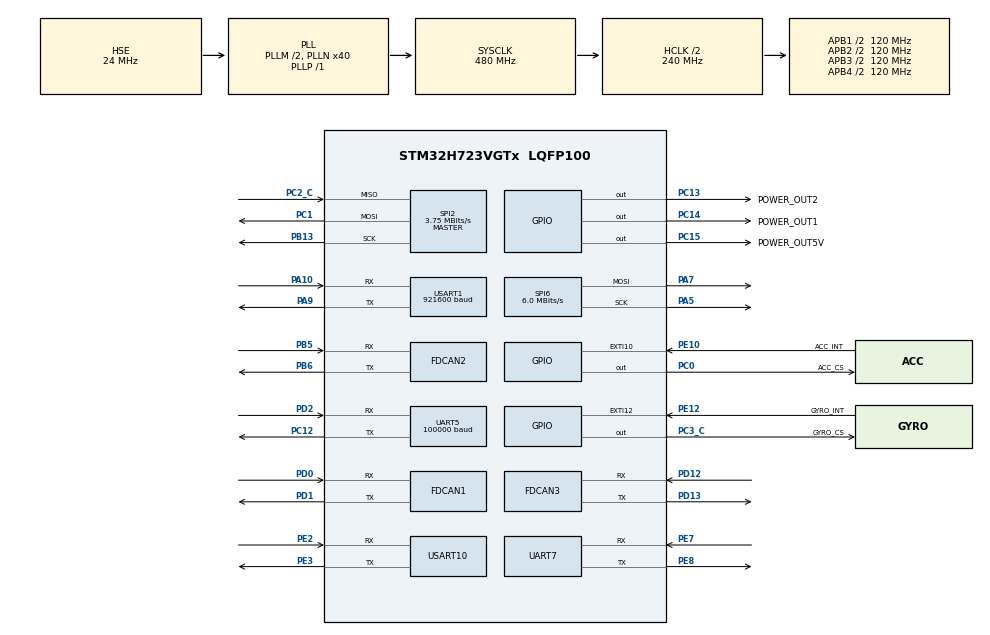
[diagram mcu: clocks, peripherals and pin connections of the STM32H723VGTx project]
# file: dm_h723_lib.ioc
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CORTEX_M7.CPU_ICache=Enabled
CORTEX_M7.default_mode_Activation=0
Dma.Request0=UART5_RX
Dma.Request1=SPI2_RX
Dma.Request2=SPI2_TX
Dma.SPI2_RX.1.Direction=DMA_PERIPH_TO_MEMORY
Dma.SPI2_RX.1.EventEnable=DISABLE
Dma.SPI2_RX.1.FIFOMode=DMA_FIFOMODE_DISABLE
Dma.SPI2_RX.1.Instance=DMA1_Stream0
Dma.SPI2_RX.1.MemDataAlignment=DMA_MDATAALIGN_BYTE
Dma.SPI2_RX.1.MemInc=DMA_MINC_ENABLE
Dma.SPI2_RX.1.Mode=DMA_NORMAL
Dma.SPI2_RX.1.PeriphDataAlignment=DMA_PDATAALIGN_BYTE
Dma.SPI2_RX.1.PeriphInc=DMA_PINC_DISABLE
Dma.SPI2_RX.1.Polarity=HAL_DMAMUX_REQ_GEN_RISING
Dma.SPI2_RX.1.Priority=DMA_PRIORITY_VERY_HIGH
Dma.SPI2_RX.1.RequestNumber=1
Dma.SPI2_RX.1.SignalID=NONE
Dma.SPI2_RX.1.SyncEnable=DISABLE
Dma.SPI2_RX.1.SyncPolarity=HAL_DMAMUX_SYNC_NO_EVENT
Dma.SPI2_RX.1.SyncRequestNumber=1
Dma.SPI2_RX.1.SyncSignalID=NONE
Dma.SPI2_TX.2.Direction=DMA_MEMORY_TO_PERIPH
Dma.SPI2_TX.2.EventEnable=DISABLE
Dma.SPI2_TX.2.FIFOMode=DMA_FIFOMODE_DISABLE
Dma.SPI2_TX.2.Instance=DMA1_Stream1
Dma.SPI2_TX.2.MemDataAlignment=DMA_MDATAALIGN_BYTE
Dma.SPI2_TX.2.MemInc=DMA_MINC_ENABLE
Dma.SPI2_TX.2.Mode=DMA_NORMAL
Dma.SPI2_TX.2.PeriphDataAlignment=DMA_PDATAALIGN_BYTE
Dma.SPI2_TX.2.PeriphInc=DMA_PINC_DISABLE
Dma.SPI2_TX.2.Polarity=HAL_DMAMUX_REQ_GEN_RISING
Dma.SPI2_TX.2.Priority=DMA_PRIORITY_HIGH
Dma.SPI2_TX.2.RequestNumber=1
Dma.SPI2_TX.2.SignalID=NONE
Dma.SPI2_TX.2.SyncEnable=DISABLE
Dma.SPI2_TX.2.SyncPolarity=HAL_DMAMUX_SYNC_NO_EVENT
Dma.SPI2_TX.2.SyncRequestNumber=1
Dma.SPI2_TX.2.SyncSignalID=NONE
Dma.UART5_RX.0.Direction=DMA_PERIPH_TO_MEMORY
Dma.UART5_RX.0.EventEnable=DISABLE
Dma.UART5_RX.0.FIFOMode=DMA_FIFOMODE_DISABLE
Dma.UART5_RX.0.Instance=DMA1_Stream2
Dma.UART5_RX.0.MemDataAlignment=DMA_MDATAALIGN_BYTE
Dma.UART5_RX.0.MemInc=DMA_MINC_ENABLE
Dma.UART5_RX.0.Mode=DMA_NORMAL
Dma.UART5_RX.0.PeriphDataAlignment=DMA_PDATAALIGN_BYTE
Dma.UART5_RX.0.PeriphInc=DMA_PINC_DISABLE
Dma.UART5_RX.0.Polarity=HAL_DMAMUX_REQ_GEN_RISING
Dma.UART5_RX.0.Priority=DMA_PRIORITY_VERY_HIGH
Dma.UART5_RX.0.RequestNumber=1
Dma.UART5_RX.0.SignalID=NONE
Dma.UART5_RX.0.SyncEnable=DISABLE
Dma.UART5_RX.0.SyncPolarity=HAL_DMAMUX_SYNC_NO_EVENT
Dma.UART5_RX.0.SyncRequestNumber=1
Dma.UART5_RX.0.SyncSignalID=NONE
FDCAN1.CalculateBaudRateNominal=1000000
FDCAN1.CalculateTimeBitNominal=1000
FDCAN1.CalculateTimeQuantumNominal=25.0
FDCAN1.DataPrescaler=3
FDCAN1.DataSyncJumpWidth=10
FDCAN1.DataTimeSeg1=29
FDCAN1.DataTimeSeg2=10
FDCAN1.NominalPrescaler=3
FDCAN1.NominalSyncJumpWidth=10
FDCAN1.NominalTimeSeg1=29
FDCAN1.NominalTimeSeg2=10
FDCAN1.RxFifo0ElmtsNbr=32
FDCAN1.StdFiltersNbr=1
FDCAN1.TxFifoQueueElmtsNbr=32
FDCAN2.CalculateBaudRateNominal=1000000
FDCAN2.CalculateTimeBitNominal=1000
FDCAN2.CalculateTimeQuantumNominal=25.0
FDCAN2.DataPrescaler=3
FDCAN2.DataSyncJumpWidth=10
FDCAN2.DataTimeSeg1=29
FDCAN2.DataTimeSeg2=10
FDCAN2.MessageRAMOffset=852
FDCAN2.NominalPrescaler=3
FDCAN2.NominalSyncJumpWidth=10
FDCAN2.NominalTimeSeg1=29
FDCAN2.NominalTimeSeg2=10
FDCAN2.RxFifo0ElmtsNbr=32
FDCAN2.StdFiltersNbr=1
FDCAN2.TxFifoQueueElmtsNbr=32
FDCAN3.CalculateBaudRateNominal=1000000
FDCAN3.CalculateTimeBitNominal=1000
FDCAN3.CalculateTimeQuantumNominal=25.0
FDCAN3.DataPrescaler=3
FDCAN3.DataSyncJumpWidth=10
FDCAN3.DataTimeSeg1=29
FDCAN3.DataTimeSeg2=10
FDCAN3.MessageRAMOffset=1704
FDCAN3.NominalPrescaler=3
FDCAN3.NominalSyncJumpWidth=10
FDCAN3.NominalTimeSeg1=29
FDCAN3.NominalTimeSeg2=10
FDCAN3.RxFifo0ElmtsNbr=32
FDCAN3.StdFiltersNbr=1
FDCAN3.TxFifoQueueElmtsNbr=32
FREERTOS.Tasks01=defaultTask,0,128,StartDefaultTask,Default,NULL,Dynamic,NULL,NULL;debug_uart,-3,1024,DEBUG_UART_TASK,As weak,NULL,Dynamic,NULL,NULL;led,-3,128,LED_TASK,As weak,NULL,Dynamic,NULL,NULL;get_rc,-3,256,GET_RC_TASK,As weak,NULL,Dynamic,NULL,NULL;imu_data,-3,1024,IMU_DATA_GET,As weak,NULL,Dynamic,NULL,NULL;can_sent,-3,256,CAN_SENT_TASK,As weak,NULL,Dynamic,NULL,NULL;motor_pid,-3,512,MOTOR_PID_TASK,As weak,NULL,Dynamic,NULL,NULL;absc_get,-3,1024,ABSC_GET_TASK,As weak,NULL,Dynamic,NULL,NULL;get_target_absc,-3,1024,GET_TARGET_ABSC,As weak,NULL,Dynamic,NULL,NULL;chassis_task,-3,1024,CHASSIS_TASK,As weak,NULL,Dynamic,NULL,NULL
FREERTOS.configTOTAL_HEAP_SIZE=30000
FREERTOS.configUSE_NEWLIB_REENTRANT=1
Mcu.Family=STM32H7
Mcu.Name=STM32H723VGTx
Mcu.Package=LQFP100
NVIC.DMA1_Stream0_IRQn=true\:5\:0\:false\:false\:true\:true\:false\:true\:true
NVIC.DMA1_Stream1_IRQn=true\:5\:0\:false\:false\:true\:true\:false\:true\:true
NVIC.DMA1_Stream2_IRQn=true\:5\:0\:false\:false\:true\:true\:false\:true\:true
NVIC.FDCAN1_IT0_IRQn=true\:5\:0\:false\:false\:true\:true\:true\:true\:true
NVIC.FDCAN2_IT0_IRQn=true\:5\:0\:false\:false\:true\:true\:true\:true\:true
NVIC.FDCAN3_IT0_IRQn=true\:5\:0\:false\:false\:true\:true\:true\:true\:true
NVIC.PriorityGroup=NVIC_PRIORITYGROUP_4
NVIC.SPI2_IRQn=true\:5\:0\:false\:false\:true\:true\:true\:true\:true
NVIC.TIM7_IRQn=true\:15\:0\:false\:false\:true\:false\:false\:true\:true
NVIC.TimeBase=TIM7_IRQn
NVIC.TimeBaseIP=TIM7
NVIC.UART5_IRQn=true\:5\:0\:false\:false\:true\:true\:true\:true\:true
NVIC.UART7_IRQn=true\:5\:0\:false\:false\:true\:true\:true\:true\:true
NVIC.USART10_IRQn=true\:5\:0\:false\:false\:true\:true\:true\:true\:true
PA10.Mode=Asynchronous
PA10.Signal=USART1_RX
PA13(JTMS/SWDIO).Mode=Serial_Wire
PA13(JTMS/SWDIO).Signal=DEBUG_JTMS-SWDIO
PA14(JTCK/SWCLK).Mode=Serial_Wire
PA14(JTCK/SWCLK).Signal=DEBUG_JTCK-SWCLK
PA5.Mode=TX_Only_Simplex_Unidirect_Master
PA5.Signal=SPI6_SCK
PA7.Mode=TX_Only_Simplex_Unidirect_Master
PA7.Signal=SPI6_MOSI
PA9.Mode=Asynchronous
PA9.Signal=USART1_TX
PB13.Mode=Full_Duplex_Master
PB13.Signal=SPI2_SCK
PB5.Mode=FDCAN_Activate
PB5.Signal=FDCAN2_RX
PB6.Mode=FDCAN_Activate
PB6.Signal=FDCAN2_TX
PC0.GPIO_Label=ACC_CS
PC0.GPIO_Speed=GPIO_SPEED_FREQ_VERY_HIGH
PC0.PinState=GPIO_PIN_SET
PC0.Signal=GPIO_Output
PC1.Mode=Full_Duplex_Master
PC1.Signal=SPI2_MOSI
PC12.Mode=Asynchronous
PC12.Signal=UART5_TX
PC13.GPIO_Label=POWER_OUT2
PC13.PinState=GPIO_PIN_SET
PC13.Signal=GPIO_Output
PC14-OSC32_IN.GPIO_Label=POWER_OUT1
PC14-OSC32_IN.PinState=GPIO_PIN_SET
PC14-OSC32_IN.Signal=GPIO_Output
PC15-OSC32_OUT.GPIO_Label=POWER_OUT5V
PC15-OSC32_OUT.PinState=GPIO_PIN_SET
PC15-OSC32_OUT.Signal=GPIO_Output
PC2_C.Mode=Full_Duplex_Master
PC2_C.Signal=SPI2_MISO
PC3_C.GPIO_Label=GYRO_CS
PC3_C.GPIO_Speed=GPIO_SPEED_FREQ_VERY_HIGH
PC3_C.PinState=GPIO_PIN_SET
PC3_C.Signal=GPIO_Output
PD0.Mode=FDCAN_Activate
PD0.Signal=FDCAN1_RX
PD1.Mode=FDCAN_Activate
PD1.Signal=FDCAN1_TX
PD12.Mode=FDCAN_Activate
PD12.Signal=FDCAN3_RX
PD13.Mode=FDCAN_Activate
PD13.Signal=FDCAN3_TX
PD2.Mode=Asynchronous
PD2.Signal=UART5_RX
PE10.GPIO_Label=ACC_INT
PE10.Signal=GPXTI10
PE12.GPIO_Label=GYRO_INT
PE12.Signal=GPXTI12
PE2.Mode=Asynchronous
PE2.Signal=USART10_RX
PE3.Mode=Asynchronous
PE3.Signal=USART10_TX
PE7.Mode=Asynchronous
PE7.Signal=UART7_RX
PE8.Mode=Asynchronous
PE8.Signal=UART7_TX
PH0-OSC_IN.Mode=HSE-External-Oscillator
PH0-OSC_IN.Signal=RCC_OSC_IN
PH1-OSC_OUT.Mode=HSE-External-Oscillator
PH1-OSC_OUT.Signal=RCC_OSC_OUT
ProjectManager.HeapSize=0x200
ProjectManager.StackSize=0x400
ProjectManager.TargetToolchain=STM32CubeIDE
RCC.ADCFreq_Value=96000000
RCC.APB1Freq_Value=120000000
RCC.APB2Freq_Value=120000000
RCC.APB3Freq_Value=120000000
RCC.APB4Freq_Value=120000000
RCC.CortexFreq_Value=480000000
RCC.D1PPRE=RCC_APB3_DIV2
RCC.D2PPRE1=RCC_APB1_DIV2
RCC.D2PPRE2=RCC_APB2_DIV2
RCC.D3PPRE=RCC_APB4_DIV2
RCC.DIVM1=2
RCC.DIVM2=2
RCC.DIVN1=40
RCC.DIVN2=16
RCC.DIVP1=1
RCC.DIVQ1=4
RCC.HCLKFreq_Value=240000000
RCC.HPRE=RCC_HCLK_DIV2
RCC.HSE_VALUE=24000000
RCC.PLL2FRACN=0
RCC.PLL3FRACN=0
RCC.PLLFRACN=0
RCC.PLLSourceVirtual=RCC_PLLSOURCE_HSE
RCC.SPI6CLockSelection=RCC_SPI6CLKSOURCE_HSE
RCC.SYSCLKFreq_VALUE=480000000
RCC.SYSCLKSource=RCC_SYSCLKSOURCE_PLLCLK
RCC.USBFreq_Value=120000000
SPI2.BaudRatePrescaler=SPI_BAUDRATEPRESCALER_32
SPI2.CLKPhase=SPI_PHASE_2EDGE
SPI2.CLKPolarity=SPI_POLARITY_HIGH
SPI2.CalculateBaudRate=3.75 MBits/s
SPI2.DataSize=SPI_DATASIZE_8BIT
SPI2.Direction=SPI_DIRECTION_2LINES
SPI2.Mode=SPI_MODE_MASTER
SPI2.VirtualType=VM_MASTER
SPI6.BaudRatePrescaler=SPI_BAUDRATEPRESCALER_4
SPI6.CLKPhase=SPI_PHASE_2EDGE
SPI6.CalculateBaudRate=6.0 MBits/s
SPI6.DataSize=SPI_DATASIZE_8BIT
SPI6.Direction=SPI_DIRECTION_2LINES_TXONLY
SPI6.Mode=SPI_MODE_MASTER
SPI6.VirtualType=VM_MASTER
UART5.BaudRate=100000
UART5.Mode=MODE_TX_RX
UART5.Parity=PARITY_EVEN
UART5.StopBits=UART_STOPBITS_2
UART5.WordLength=WORDLENGTH_9B
USART1.BaudRate=921600
USART1.VirtualMode-Asynchronous=VM_ASYNC
USART10.VirtualMode=VM_ASYNC
VP_FREERTOS_VS_CMSIS_V1.Mode=CMSIS_V1
VP_MEMORYMAP_VS_MEMORYMAP.Mode=CurAppReg
VP_SYS_VS_tim7.Mode=TIM7
board=custom

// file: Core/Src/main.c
/* USER CODE BEGIN Header */
/**
  ******************************************************************************
  * @file           : main.c
  * @brief          : Main program body
  ******************************************************************************
  * @attention
  *
  * Copyright (c) 2026 STMicroelectronics.
  * All rights reserved.
  *
  * This software is licensed under terms that can be found in the LICENSE file
  * in the root directory of this software component.
  * If no LICENSE file comes with this software, it is provided AS-IS.
  *
  ******************************************************************************
  */
/* USER CODE END Header */
#include "main.h"
#include "cmsis_os.h"
#include "dma.h"
#include "fdcan.h"
#include "spi.h"
#include "usart.h"
#include "gpio.h"

/* USER CODE BEGIN Includes */
#include "ws2812.h"
#include "uart_printf.h"
#include "remote_control.h"
#include "BMI088driver.h"
#include "bsp_can.h"
#include "CHASSIS_TASK.h"
#include "dm_motor.h"
/* USER CODE END Includes */

/* USER CODE BEGIN PV */
float gyro[3], accel[3], temp;
float INS_quat[4] = {1.0f, 0.0f, 0.0f, 0.0f};
float INS_angle[3] = {0.0f, 0.0f, 0.0f};
float INS_degree[3] = {0.0f, 0.0f, 0.0f};

int16_t MOTOR_11_GIVEN_CURRENT = 0;
int16_t MOTOR_12_GIVEN_CURRENT = 0;
int16_t MOTOR_13_GIVEN_CURRENT = 0;
int16_t MOTOR_14_GIVEN_CURRENT = 0;
int16_t MOTOR_21_GIVEN_CURRENT = 0;
int16_t MOTOR_22_GIVEN_CURRENT = 0;
int16_t MOTOR_23_GIVEN_CURRENT = 0;
int16_t MOTOR_24_GIVEN_CURRENT = 0;

float MOTOR_11_GIVEN_SPEED = 0 ;
float MOTOR_12_GIVEN_SPEED = 0 ;
float MOTOR_13_GIVEN_SPEED = 0 ;
float MOTOR_14_GIVEN_SPEED = 0 ;
float MOTOR_21_GIVEN_SPEED = 0 ;
float MOTOR_22_GIVEN_SPEED = 0 ;
float MOTOR_23_GIVEN_SPEED = 0 ;
float MOTOR_24_GIVEN_SPEED = 0 ;

float MOTOR_11_GIVEN_ANGLE = 0 ;
float MOTOR_12_GIVEN_ANGLE = 0 ;
float MOTOR_13_GIVEN_ANGLE = 0 ;
float MOTOR_14_GIVEN_ANGLE = 0 ;
float MOTOR_21_GIVEN_ANGLE = 0 ;
float MOTOR_22_GIVEN_ANGLE = 0 ;
float MOTOR_23_GIVEN_ANGLE = 0 ;
float MOTOR_24_GIVEN_ANGLE = 0 ;

// 实时角度
float MOTOR_11_REAL_ABSC = 0.0f ;
float MOTOR_12_REAL_ABSC = 0.0f ;
float MOTOR_13_REAL_ABSC = 0.0f ;
float MOTOR_14_REAL_ABSC = 0.0f ;
float MOTOR_21_REAL_ABSC = 0.0f ;
float MOTOR_22_REAL_ABSC = 0.0f ;
float MOTOR_23_REAL_ABSC = 0.0f ;
float MOTOR_24_REAL_ABSC = 0.0f ;

float MOTOR_11_LAPS = 0.0f ;
float MOTOR_12_LAPS = 0.0f ;
float MOTOR_13_LAPS = 0.0f ;
float MOTOR_14_LAPS = 0.0f ;
float MOTOR_21_LAPS = 0.0f ;
float MOTOR_22_LAPS = 0.0f ;
float MOTOR_23_LAPS = 0.0f ;
float MOTOR_24_LAPS = 0.0f ;

float MOTOR_11_INIT_ANGLE = 0.0f ;
float MOTOR_12_INIT_ANGLE = 0.0f ;
float MOTOR_13_INIT_ANGLE = 0.0f ;
float MOTOR_14_INIT_ANGLE = 0.0f ;
float MOTOR_21_INIT_ANGLE = 0.0f ;
float MOTOR_22_INIT_ANGLE = 0.0f ;
float MOTOR_23_INIT_ANGLE = 0.0f ;
float MOTOR_24_INIT_ANGLE = 0.0f ;

float MOTOR_11_LAST_ECD = 0.0f ;
float MOTOR_12_LAST_ECD = 0.0f ;
float MOTOR_13_LAST_ECD = 0.0f ;
float MOTOR_14_LAST_ECD = 0.0f ;
float MOTOR_21_LAST_ECD = 0.0f ;
float MOTOR_22_LAST_ECD = 0.0f ;
float MOTOR_23_LAST_ECD = 0.0f ;
float MOTOR_24_LAST_ECD = 0.0f ;

//目标输出轴角度
float MOTOR_11_TARGET_OUTPUT_SHAFT = 0.0f ;
float MOTOR_12_TARGET_OUTPUT_SHAFT = 0.0f ;
float MOTOR_13_TARGET_OUTPUT_SHAFT = 0.0f ;
float MOTOR_14_TARGET_OUTPUT_SHAFT = 0.0f ;
float MOTOR_21_TARGET_OUTPUT_SHAFT = 0.0f ;
float MOTOR_22_TARGET_OUTPUT_SHAFT = 0.0f ;
float MOTOR_23_TARGET_OUTPUT_SHAFT = 0.0f ;
float MOTOR_24_TARGET_OUTPUT_SHAFT = 0.0f ;

// 目标角度
float MOTOR_11_TARGET_ABSC = 0.0f ;
float MOTOR_12_TARGET_ABSC = 0.0f ;
float MOTOR_13_TARGET_ABSC = 0.0f ;
float MOTOR_14_TARGET_ABSC = 0.0f ;
float MOTOR_21_TARGET_ABSC = 0.0f ;
float MOTOR_22_TARGET_ABSC = 0.0f ;
float MOTOR_23_TARGET_ABSC = 0.0f ;
float MOTOR_24_TARGET_ABSC = 0.0f ;

float LEFT_BEHIND_X = 0.0f ;
float LEFT_BEHIND_Z = 0.0f ;
float LEFT_BEHIND_VIRTUAL_LEG_LEARNTH = 0.0f ;
float LEFT_BEHIND_VIRTUAL_LEG_ANGLE_047 = 0.0f ;
float LEFT_BEHIND_VIRTUAL_LEG_ANGLE_04 = 0.0f ;
float LEFT_BEHIND_VIRTUAL_LEG_ANGLE_07 = 0.0f ;
float LEFT_BEHIND_VIRTUAL_LEG_ANGLE_0474 = 0.0f ;

float LEFT_FRONT_X = 0.0f ;
float LEFT_FRONT_Z = 0.0f ;
float LEFT_FRONT_VIRTUAL_LEG_LEARNTH = 0.0f ;
float LEFT_FRONT_VIRTUAL_LEG_ANGLE_047 = 0.0f ;
float LEFT_FRONT_VIRTUAL_LEG_ANGLE_04 = 0.0f ;
float LEFT_FRONT_VIRTUAL_LEG_ANGLE_07 = 0.0f ;
float LEFT_FRONT_VIRTUAL_LEG_ANGLE_0474 = 0.0f ;

float RIGHT_BEHIND_X = 0.0f ;
float RIGHT_BEHIND_Z = 0.0f ;
float RIGHT_BEHIND_VIRTUAL_LEG_LEARNTH = 0.0f ;
float RIGHT_BEHIND_VIRTUAL_LEG_ANGLE_047 = 0.0f ;
float RIGHT_BEHIND_VIRTUAL_LEG_ANGLE_04 = 0.0f ;
float RIGHT_BEHIND_VIRTUAL_LEG_ANGLE_07 = 0.0f ;
float RIGHT_BEHIND_VIRTUAL_LEG_ANGLE_0474 = 0.0f ;

float RIGHT_FRONT_X = 0.0f ;
float RIGHT_FRONT_Z = 0.0f ;
float RIGHT_FRONT_VIRTUAL_LEG_LEARNTH = 0.0f ;
float RIGHT_FRONT_VIRTUAL_LEG_ANGLE_047 = 0.0f ;
float RIGHT_FRONT_VIRTUAL_LEG_ANGLE_04 = 0.0f ;
float RIGHT_FRONT_VIRTUAL_LEG_ANGLE_07 = 0.0f ;
float RIGHT_FRONT_VIRTUAL_LEG_ANGLE_0474 = 0.0f ;

float timeA = 0;
float timeB = T_time * 0.5f;

float chassis_speed = 0.0f;
float chassis_yaw_speed= 0.0f;

float chassis_height = 0.0f;

/* USER CODE END PV */

void SystemClock_Config(void);
void MX_FREERTOS_Init(void);

int main(void)
{

  /* Enable the CPU Cache */

  /* Enable I-Cache---------------------------------------------------------*/
  SCB_EnableICache();

  /* MCU Configuration--------------------------------------------------------*/

  /* Reset of all peripherals, Initializes the Flash interface and the Systick. */
  HAL_Init();

  /* Configure the system clock */
  SystemClock_Config();

  /* Initialize all configured peripherals */
  MX_GPIO_Init();
  MX_DMA_Init();
  MX_SPI6_Init();
  MX_USART1_UART_Init();
  MX_UART5_Init();
  MX_SPI2_Init();
  MX_FDCAN1_Init();
  MX_FDCAN2_Init();
  MX_FDCAN3_Init();
  MX_UART7_Init();
  MX_USART10_UART_Init();
  /* USER CODE BEGIN 2 */

    while(BMI088_init());

    //about remote control
#if REMOTE_TYPE == SBUS
    HAL_UARTEx_ReceiveToIdle_DMA(&huart5, rx_subs_buff, SBUS_BUFF_SIZE * 2);
#endif

#if REMOTE_TYPE == DBUS
    HAL_UARTEx_ReceiveToIdle_DMA(&huart5, rx_dbus_buff, DBUS_BUFF_SIZE);
#endif
    dm_motor_init();

    BSP_FDCAN_Init();

  /* USER CODE END 2 */

  /* Call init function for freertos objects (in cmsis_os2.c) */
  MX_FREERTOS_Init();

  /* Start scheduler */
  osKernelStart();

  /* We should never get here as control is now taken by the scheduler */

  /* Infinite loop */
  while (1)
  {

  }
}

void SystemClock_Config(void)
{
  RCC_OscInitTypeDef RCC_OscInitStruct = {0};
  RCC_ClkInitTypeDef RCC_ClkInitStruct = {0};

  /** Supply configuration update enable
  */
  HAL_PWREx_ConfigSupply(PWR_LDO_SUPPLY);

  /** Configure the main internal regulator output voltage
  */
  __HAL_PWR_VOLTAGESCALING_CONFIG(PWR_REGULATOR_VOLTAGE_SCALE0);

  while(!__HAL_PWR_GET_FLAG(PWR_FLAG_VOSRDY)) {}

  /** Initializes the RCC Oscillators according to the specified parameters
  * in the RCC_OscInitTypeDef structure.
  */
  RCC_OscInitStruct.OscillatorType = RCC_OSCILLATORTYPE_HSE;
  RCC_OscInitStruct.HSEState = RCC_HSE_ON;
  RCC_OscInitStruct.PLL.PLLState = RCC_PLL_ON;
  RCC_OscInitStruct.PLL.PLLSource = RCC_PLLSOURCE_HSE;
  RCC_OscInitStruct.PLL.PLLM = 2;
  RCC_OscInitStruct.PLL.PLLN = 40;
  RCC_OscInitStruct.PLL.PLLP = 1;
  RCC_OscInitStruct.PLL.PLLQ = 4;
  RCC_OscInitStruct.PLL.PLLR = 2;
  RCC_OscInitStruct.PLL.PLLRGE = RCC_PLL1VCIRANGE_3;
  RCC_OscInitStruct.PLL.PLLVCOSEL = RCC_PLL1VCOWIDE;
  RCC_OscInitStruct.PLL.PLLFRACN = 0;
  if (HAL_RCC_OscConfig(&RCC_OscInitStruct) != HAL_OK)
  {
    Error_Handler();
  }

  /** Initializes the CPU, AHB and APB buses clocks
  */
  RCC_ClkInitStruct.ClockType = RCC_CLOCKTYPE_HCLK|RCC_CLOCKTYPE_SYSCLK
                              |RCC_CLOCKTYPE_PCLK1|RCC_CLOCKTYPE_PCLK2
                              |RCC_CLOCKTYPE_D3PCLK1|RCC_CLOCKTYPE_D1PCLK1;
  RCC_ClkInitStruct.SYSCLKSource = RCC_SYSCLKSOURCE_PLLCLK;
  RCC_ClkInitStruct.SYSCLKDivider = RCC_SYSCLK_DIV1;
  RCC_ClkInitStruct.AHBCLKDivider = RCC_HCLK_DIV2;
  RCC_ClkInitStruct.APB3CLKDivider = RCC_APB3_DIV2;
  RCC_ClkInitStruct.APB1CLKDivider = RCC_APB1_DIV2;
  RCC_ClkInitStruct.APB2CLKDivider = RCC_APB2_DIV2;
  RCC_ClkInitStruct.APB4CLKDivider = RCC_APB4_DIV2;

  if (HAL_RCC_ClockConfig(&RCC_ClkInitStruct, FLASH_LATENCY_3) != HAL_OK)
  {
    Error_Handler();
  }
}

void HAL_TIM_PeriodElapsedCallback(TIM_HandleTypeDef *htim)
{
  if (htim->Instance == TIM7) {
    HAL_IncTick();
  }
}

void Error_Handler(void)
{
  __disable_irq();
  while (1)
  {
  }
}

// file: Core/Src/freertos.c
/* USER CODE BEGIN Header */
/**
  ******************************************************************************
  * File Name          : freertos.c
  * Description        : Code for freertos applications
  ******************************************************************************
  * @attention
  *
  * Copyright (c) 2026 STMicroelectronics.
  * All rights reserved.
  *
  * This software is licensed under terms that can be found in the LICENSE file
  * in the root directory of this software component.
  * If no LICENSE file comes with this software, it is provided AS-IS.
  *
  ******************************************************************************
  */
/* USER CODE END Header */

#include "FreeRTOS.h"
#include "task.h"
#include "main.h"
#include "cmsis_os.h"

osThreadId defaultTaskHandle;
osThreadId debug_uartHandle;
osThreadId ledHandle;
osThreadId get_rcHandle;
osThreadId imu_dataHandle;
osThreadId can_sentHandle;
osThreadId motor_pidHandle;
osThreadId absc_getHandle;
osThreadId get_target_abscHandle;
osThreadId chassis_taskHandle;

void StartDefaultTask(void const * argument);
void DEBUG_UART_TASK(void const * argument);
void LED_TASK(void const * argument);
void GET_RC_TASK(void const * argument);
void IMU_DATA_GET(void const * argument);
void CAN_SENT_TASK(void const * argument);
void MOTOR_PID_TASK(void const * argument);
void ABSC_GET_TASK(void const * argument);
void GET_TARGET_ABSC(void const * argument);
void CHASSIS_TASK(void const * argument);

void MX_FREERTOS_Init(void); /* (MISRA C 2004 rule 8.1) */

/* GetIdleTaskMemory prototype (linked to static allocation support) */
void vApplicationGetIdleTaskMemory( StaticTask_t **ppxIdleTaskTCBBuffer, StackType_t **ppxIdleTaskStackBuffer, uint32_t *pulIdleTaskStackSize );

/* USER CODE BEGIN GET_IDLE_TASK_MEMORY */
static StaticTask_t xIdleTaskTCBBuffer;
static StackType_t xIdleStack[configMINIMAL_STACK_SIZE];

void vApplicationGetIdleTaskMemory( StaticTask_t **ppxIdleTaskTCBBuffer, StackType_t **ppxIdleTaskStackBuffer, uint32_t *pulIdleTaskStackSize )
{
  *ppxIdleTaskTCBBuffer = &xIdleTaskTCBBuffer;
  *ppxIdleTaskStackBuffer = &xIdleStack[0];
  *pulIdleTaskStackSize = configMINIMAL_STACK_SIZE;
  /* place for user code */
}
/* USER CODE END GET_IDLE_TASK_MEMORY */

void MX_FREERTOS_Init(void) {

  /* Create the thread(s) */
  /* definition and creation of defaultTask */
  osThreadDef(defaultTask, StartDefaultTask, osPriorityNormal, 0, 128);
  defaultTaskHandle = osThreadCreate(osThread(defaultTask), NULL);

  /* definition and creation of debug_uart */
  osThreadDef(debug_uart, DEBUG_UART_TASK, osPriorityIdle, 0, 1024);
  debug_uartHandle = osThreadCreate(osThread(debug_uart), NULL);

  /* definition and creation of led */
  osThreadDef(led, LED_TASK, osPriorityIdle, 0, 128);
  ledHandle = osThreadCreate(osThread(led), NULL);

  /* definition and creation of get_rc */
  osThreadDef(get_rc, GET_RC_TASK, osPriorityIdle, 0, 256);
  get_rcHandle = osThreadCreate(osThread(get_rc), NULL);

  /* definition and creation of imu_data */
  osThreadDef(imu_data, IMU_DATA_GET, osPriorityIdle, 0, 1024);
  imu_dataHandle = osThreadCreate(osThread(imu_data), NULL);

  /* definition and creation of can_sent */
  osThreadDef(can_sent, CAN_SENT_TASK, osPriorityIdle, 0, 256);
  can_sentHandle = osThreadCreate(osThread(can_sent), NULL);

  /* definition and creation of motor_pid */
  osThreadDef(motor_pid, MOTOR_PID_TASK, osPriorityIdle, 0, 512);
  motor_pidHandle = osThreadCreate(osThread(motor_pid), NULL);

  /* definition and creation of absc_get */
  osThreadDef(absc_get, ABSC_GET_TASK, osPriorityIdle, 0, 1024);
  absc_getHandle = osThreadCreate(osThread(absc_get), NULL);

  /* definition and creation of get_target_absc */
  osThreadDef(get_target_absc, GET_TARGET_ABSC, osPriorityIdle, 0, 1024);
  get_target_abscHandle = osThreadCreate(osThread(get_target_absc), NULL);

  /* definition and creation of chassis_task */
  osThreadDef(chassis_task, CHASSIS_TASK, osPriorityIdle, 0, 1024);
  chassis_taskHandle = osThreadCreate(osThread(chassis_task), NULL);

}

void StartDefaultTask(void const * argument)
{
  for(;;)
  {
    osDelay(1);
  }
}

__weak void DEBUG_UART_TASK(void const * argument)
{
  for(;;)
  {
    osDelay(1);
  }
}

__weak void LED_TASK(void const * argument)
{
  for(;;)
  {
    osDelay(1);
  }
}

__weak void GET_RC_TASK(void const * argument)
{
  for(;;)
  {
    osDelay(1);
  }
}

__weak void IMU_DATA_GET(void const * argument)
{
  for(;;)
  {
    osDelay(1);
  }
}

__weak void CAN_SENT_TASK(void const * argument)
{
  for(;;)
  {
    osDelay(1);
  }
}

__weak void MOTOR_PID_TASK(void const * argument)
{
  for(;;)
  {
    osDelay(1);
  }
}

__weak void ABSC_GET_TASK(void const * argument)
{
  for(;;)
  {
    osDelay(1);
  }
}

__weak void GET_TARGET_ABSC(void const * argument)
{
  for(;;)
  {
    osDelay(1);
  }
}

__weak void CHASSIS_TASK(void const * argument)
{
  for(;;)
  {
    osDelay(1);
  }
}
